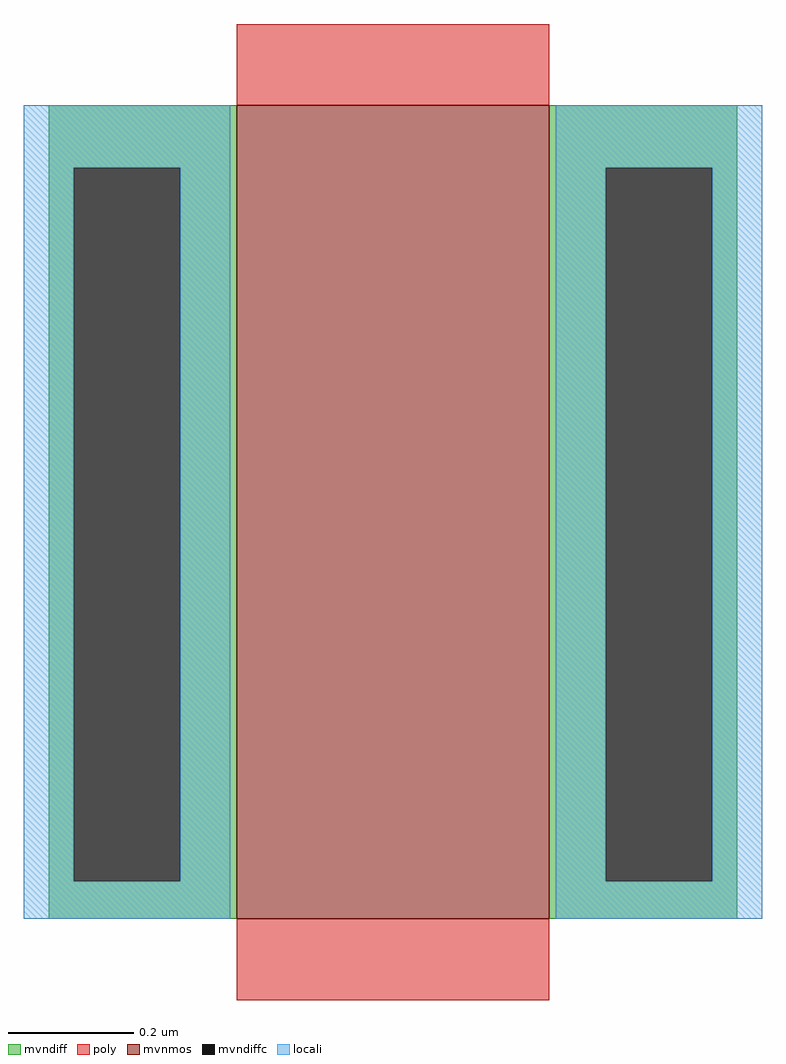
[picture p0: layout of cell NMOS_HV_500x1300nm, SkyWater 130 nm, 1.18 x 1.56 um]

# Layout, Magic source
magic
tech sky130A
<< mvnmos >>
rect -253 -8 -203 122
<< mvndiff >>
rect -283 112 -253 122
rect -283 -2 -279 112
rect -262 -2 -253 112
rect -283 -8 -253 -2
rect -203 112 -173 122
rect -203 -2 -194 112
rect -177 -2 -173 112
rect -203 -8 -173 -2
<< mvndiffc >>
rect -279 -2 -262 112
rect -194 -2 -177 112
<< poly >>
rect -253 122 -203 135
rect -253 -21 -203 -8
<< locali >>
rect -287 112 -254 122
rect -287 -2 -279 112
rect -262 -2 -254 112
rect -287 -8 -254 -2
rect -202 112 -169 122
rect -202 -2 -194 112
rect -177 -2 -169 112
rect -202 -8 -169 -2
<< end >>
